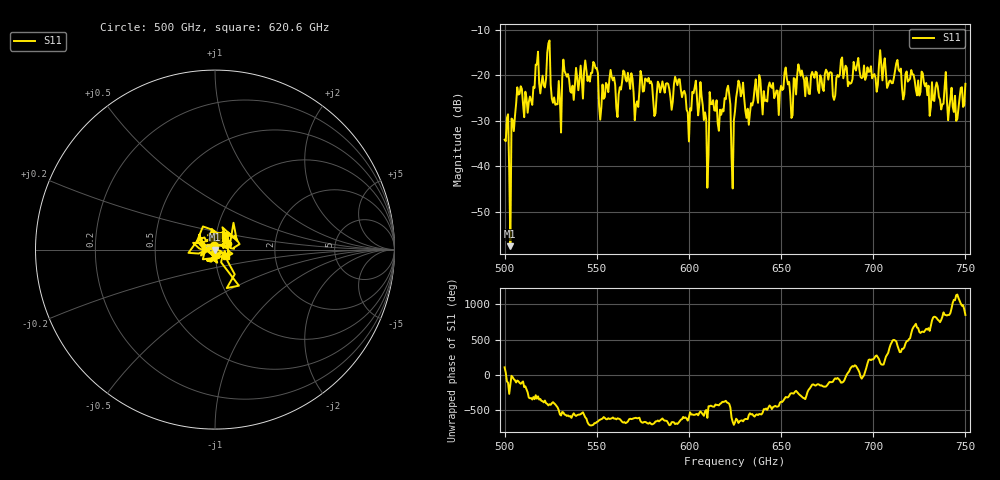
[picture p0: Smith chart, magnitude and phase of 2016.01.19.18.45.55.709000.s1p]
!Created with skrf (http://scikit-rf.org).
# GHz S RI R 50.0
!freq ReS11 ImS11
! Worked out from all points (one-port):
!   401 points, 500 GHz to 750 GHz, reference 50 ohm
!   lowest |S11| = -57.5 dB at 503.1 GHz (marker M1), VSWR 1.00, Z = 49.9 - j0.0955 ohm
!   |S11| at or under -10 dB: start of sweep to end of sweep
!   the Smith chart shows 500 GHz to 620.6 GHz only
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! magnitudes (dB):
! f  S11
! 500 GHz  -34.1
! 503.1 GHz  -57.5
! 508.1 GHz  -24.1
! 513.8 GHz  -24.7
! 523.8 GHz  -13.0
! 526.9 GHz  -24.8
! 531.2 GHz  -20.7
! 549.4 GHz  -18.5
! 552.5 GHz  -27.0
! 558.1 GHz  -20.3
! 562.5 GHz  -22.6
! 593.8 GHz  -22.2
! 600 GHz  -34.5
! 607.5 GHz  -26.5
! 609.4 GHz  -29.6
! 612.5 GHz  -26.3
! 620.6 GHz  -23.1
! 623.1 GHz  -37.9
! 625 GHz  -27.9
! 628.1 GHz  -24.6
! 631.9 GHz  -27.3
! 637.5 GHz  -26.0
! 656.2 GHz  -28.8
! 660 GHz  -18.7
! 687.5 GHz  -21.8
! 718.8 GHz  -21.4
! 744.4 GHz  -24.5
! 750 GHz  -21.9
